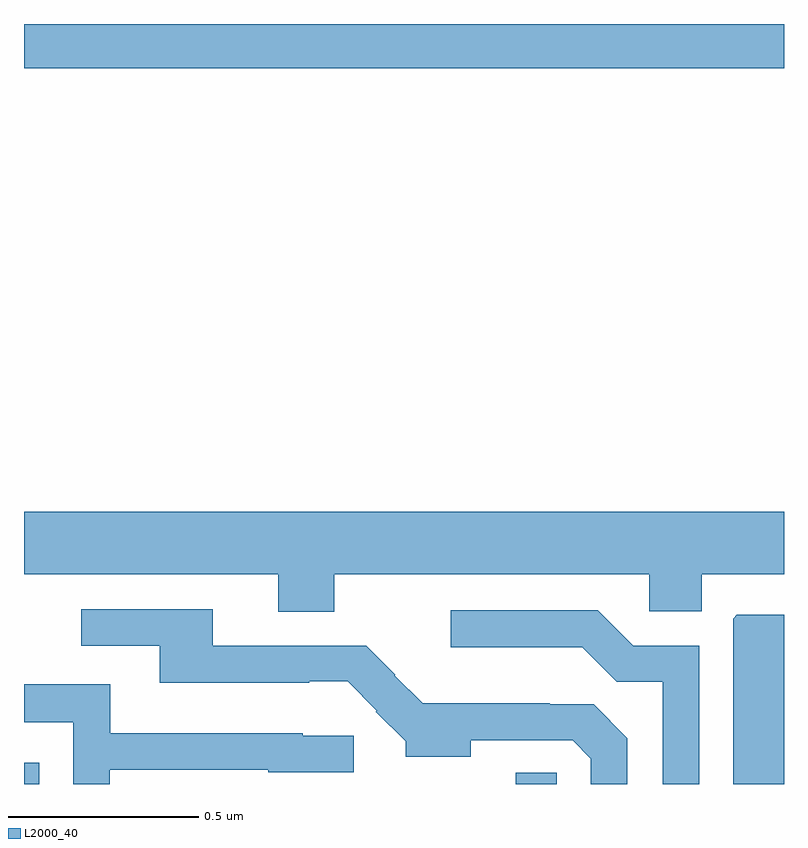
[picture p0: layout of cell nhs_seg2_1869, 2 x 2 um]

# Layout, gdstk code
import gdstk
lib = gdstk.Library(unit=1e-6, precision=1e-09)
def R(c, l, rs):  # rectangles x0, y0, x1, y1
    for r in rs: c.add(gdstk.rectangle(r[:2], r[2:], *l))
def P(c, l, *ps):  # polygons
    for p in ps: c.add(gdstk.Polygon(p, *l))
L2000_40 = (2000, 40)

nhs_seg2_1869 = lib.new_cell('nhs_seg2_1869')
R(nhs_seg2_1869, L2000_40, [(134,597.8,134.04,597.856), (135.294,597.8,135.402,597.83), (134,599.684,136,599.8)])
P(nhs_seg2_1869, L2000_40, [(134.817,598.352),(135.645,598.352),(135.645,598.254),(135.784,598.254),(135.784,598.352),(136,598.352),(136,598.516),(134,598.516),(134,598.352),(134.669,598.352),(134.669,598.253),(134.817,598.253)],
  [(135.588,597.921),(135.499,598.01),(135.383,598.01),(135.383,598.012),(135.049,598.012),(134.975,598.085),(134.977,598.087),(134.901,598.164),(134.497,598.164),(134.497,598.26),(134.151,598.26),(134.151,598.164),(134.357,598.164),(134.357,598.067),(134.75,598.067),(134.75,598.07),(134.852,598.07),(134.928,597.993),(134.925,597.99),(135.004,597.912),(135.004,597.872),(135.175,597.872),(135.175,597.915),(135.444,597.915),(135.492,597.867),(135.492,597.8),(135.588,597.8)],
  [(135.777,598.164),(135.603,598.164),(135.51,598.257),(135.123,598.257),(135.123,598.16),(135.469,598.16),(135.56,598.069),(135.681,598.069),(135.681,597.8),(135.777,597.8)],
  [(136,598.245),(135.876,598.245),(135.866,598.235),(135.866,597.8),(136,597.8)],
  [(134.226,597.837),(134.643,597.837),(134.643,597.831),(134.868,597.831),(134.868,597.927),(134.733,597.927),(134.733,597.934),(134.227,597.934),(134.227,598.063),(134,598.063),(134,597.963),(134.13,597.963),(134.13,597.8),(134.226,597.8)])

lib.write_gds('nhs_seg2_1869.gds')
